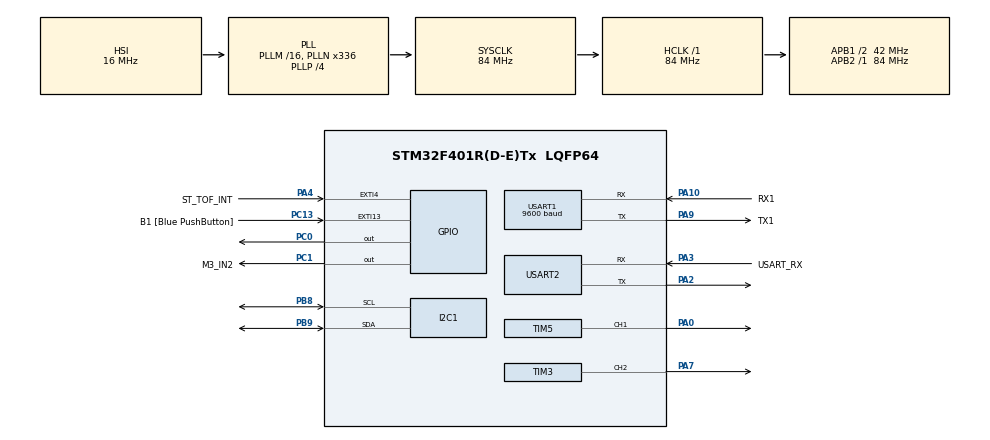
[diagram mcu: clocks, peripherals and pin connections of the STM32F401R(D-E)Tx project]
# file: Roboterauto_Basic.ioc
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Dma.Request0=USART1_RX
Dma.USART1_RX.0.Direction=DMA_PERIPH_TO_MEMORY
Dma.USART1_RX.0.FIFOMode=DMA_FIFOMODE_DISABLE
Dma.USART1_RX.0.Instance=DMA2_Stream2
Dma.USART1_RX.0.MemDataAlignment=DMA_MDATAALIGN_BYTE
Dma.USART1_RX.0.MemInc=DMA_MINC_ENABLE
Dma.USART1_RX.0.Mode=DMA_NORMAL
Dma.USART1_RX.0.PeriphDataAlignment=DMA_PDATAALIGN_BYTE
Dma.USART1_RX.0.PeriphInc=DMA_PINC_DISABLE
Dma.USART1_RX.0.Priority=DMA_PRIORITY_LOW
I2C1.I2C_Mode=I2C_Fast
Mcu.Family=STM32F4
Mcu.Name=STM32F401R(D-E)Tx
Mcu.Package=LQFP64
NVIC.DMA2_Stream2_IRQn=true\:0\:0\:false\:false\:true\:false\:true\:true
NVIC.EXTI4_IRQn=true\:0\:0\:false\:false\:true\:true\:true\:true
NVIC.PriorityGroup=NVIC_PRIORITYGROUP_0
NVIC.USART1_IRQn=true\:0\:0\:false\:false\:true\:true\:true\:true
PA0-WKUP.Signal=S_TIM5_CH1
PA10.GPIO_Label=RX1
PA10.Mode=Asynchronous
PA10.Signal=USART1_RX
PA13.GPIO_Label=TMS
PA13.Signal=SYS_JTMS-SWDIO
PA14.GPIO_Label=TCK
PA14.Signal=SYS_JTCK-SWCLK
PA2.GPIO_Mode=GPIO_MODE_AF_PP
PA2.GPIO_PuPd=GPIO_NOPULL
PA2.GPIO_Speed=GPIO_SPEED_FREQ_LOW
PA2.Mode=Asynchronous
PA2.Signal=USART2_TX
PA3.GPIO_Label=USART_RX
PA3.GPIO_Mode=GPIO_MODE_AF_PP
PA3.GPIO_PuPd=GPIO_NOPULL
PA3.GPIO_Speed=GPIO_SPEED_FREQ_LOW
PA3.Mode=Asynchronous
PA3.Signal=USART2_RX
PA4.GPIO_Label=ST_TOF_INT
PA4.GPIO_ModeDefaultEXTI=GPIO_MODE_IT_FALLING
PA4.GPIO_PuPd=GPIO_NOPULL
PA4.Signal=GPXTI4
PA7.Signal=S_TIM3_CH2
PA9.GPIO_Label=TX1
PA9.Mode=Asynchronous
PA9.Signal=USART1_TX
PB3.GPIO_Label=SWO
PB3.Signal=SYS_JTDO-SWO
PB8.Mode=I2C
PB8.Signal=I2C1_SCL
PB9.Mode=I2C
PB9.Signal=I2C1_SDA
PC0.Signal=GPIO_Output
PC1.GPIO_Label=M3_IN2
PC1.Signal=GPIO_Output
PC13-ANTI_TAMP.GPIO_Label=B1 [Blue PushButton]
PC13-ANTI_TAMP.GPIO_ModeDefaultEXTI=GPIO_MODE_IT_FALLING
PC13-ANTI_TAMP.GPIO_PuPd=GPIO_NOPULL
PC13-ANTI_TAMP.Signal=GPXTI13
PC14-OSC32_IN.Signal=RCC_OSC32_IN
PC15-OSC32_OUT.Signal=RCC_OSC32_OUT
PH0\ -\ OSC_IN.Signal=RCC_OSC_IN
PH1\ -\ OSC_OUT.Signal=RCC_OSC_OUT
ProjectManager.HeapSize=0x200
ProjectManager.StackSize=0x400
ProjectManager.TargetToolchain=STM32CubeIDE
RCC.AHBFreq_Value=84000000
RCC.APB1CLKDivider=RCC_HCLK_DIV2
RCC.APB1Freq_Value=42000000
RCC.APB1TimFreq_Value=84000000
RCC.APB2Freq_Value=84000000
RCC.APB2TimFreq_Value=84000000
RCC.CortexFreq_Value=84000000
RCC.HCLKFreq_Value=84000000
RCC.HSE_VALUE=8000000
RCC.HSI_VALUE=16000000
RCC.LSE_VALUE=32768
RCC.PLLN=336
RCC.PLLP=RCC_PLLP_DIV4
RCC.PLLQ=7
RCC.SYSCLKFreq_VALUE=84000000
RCC.SYSCLKSource=RCC_SYSCLKSOURCE_PLLCLK
RCC.VCOOutputFreq_Value=336000000
SH.S_TIM3_CH2.0=TIM3_CH2,PWM Generation2 CH2
SH.S_TIM5_CH1.0=TIM5_CH1,PWM Generation1 CH1
TIM3.Channel-PWM\ Generation2\ CH2=TIM_CHANNEL_2
TIM3.Period=1000-1
TIM3.Prescaler=1680-1
TIM5.Channel-PWM\ Generation1\ CH1=TIM_CHANNEL_1
TIM5.Period=1000-1
TIM5.Prescaler=42-1
USART1.BaudRate=9600
USART1.VirtualMode=VM_ASYNC
USART2.VirtualMode=VM_ASYNC
VP_TIM3_VS_ClockSourceINT.Mode=Internal
VP_TIM5_VS_ClockSourceINT.Mode=Internal
board=NUCLEO-F401RE

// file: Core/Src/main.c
/* USER CODE BEGIN Header */
/**
  ******************************************************************************
  * @file           : main.c
  * @brief          : Main program body
  ******************************************************************************
  * @attention
  *
  * <h2><center>&copy; Copyright (c) 2021 STMicroelectronics.
  * All rights reserved.</center></h2>
  *
  * This software component is licensed by ST under BSD 3-Clause license,
  * the "License"; You may not use this file except in compliance with the
  * License. You may obtain a copy of the License at:
  *                        opensource.org/licenses/BSD-3-Clause
  *
  ******************************************************************************
  */
/* USER CODE END Header */
#include "main.h"

/* USER CODE BEGIN Includes */
#include "i2c.h"

#include "fonts.h"
#include "ssd1306.h"
#include "bitmap.h"

#include "TOF_driver.h"
#include "vl53lx_api.h"

#include "motorDriver.h"

#include "ioExpander.h"

#include "debugging.h"
#include "bluefruit_controller.h"
#include "bluefruit_plotter.h"

/* USER CODE END Includes */

I2C_HandleTypeDef hi2c1;

TIM_HandleTypeDef htim3;
TIM_HandleTypeDef htim5;

UART_HandleTypeDef huart1;
UART_HandleTypeDef huart2;
DMA_HandleTypeDef hdma_usart1_rx;

/* USER CODE BEGIN PV */

VL53LX_Dev_t                   dev2;
VL53LX_DEV                     Dev2 = &dev2;
//int status;
int IntCount;
uint8_t rxIntCount;
#define isInterrupt 1
#define isBluetooth 0

uint8_t i2cAddrBuf[10];		// I2C Address Buffer Array

UART_HandleTypeDef *debug_log_huart = NULL;
UART_HandleTypeDef *bluefruit_plotter_huart = NULL;

#define RxBuf_SIZE 10
#define MainBuf_SIZE 20

uint8_t RxBuf[RxBuf_SIZE];
uint8_t MainBuf[MainBuf_SIZE];

uint8_t motorSpeed = 0;
uint8_t motorDirection = 0;

/* USER CODE END PV */

void SystemClock_Config(void);
static void MX_GPIO_Init(void);
static void MX_DMA_Init(void);
static void MX_TIM3_Init(void);
static void MX_USART2_UART_Init(void);
static void MX_TIM5_Init(void);
static void MX_I2C1_Init(void);
static void MX_USART1_UART_Init(void);
/* USER CODE BEGIN PFP */
//void RangingLoop(void);
/* USER CODE END PFP */

/* USER CODE BEGIN 0 */

#ifdef __GNUC__
/* With GCC/RAISONANCE, small printf (option LD Linker->Libraries->Small printf
set to 'Yes') calls __io_putchar() */
#define PUTCHAR_PROTOTYPE int __io_putchar(int ch)
#else
#define PUTCHAR_PROTOTYPE int fputc(int ch, FILE *f)
#endif /* __GNUC__ */

void HAL_GPIO_EXTI_Callback(uint16_t GPIO_Pin)
{
  if (GPIO_Pin==ST_TOF_INT_Pin)
  {
    IntCount++;
  }
}

void handle_buttons(int number, int is_pressed)
{
	DEBUG_LOG("Bluefruit controller: Button %i was %s\r\n",
			number, (is_pressed == 1) ? "pressed" : "released");

	switch (number)
	{
		case 5:
			if (is_pressed)
			{
				if (motorDirection == 1)
				{
					motorSpeed += 10;
					setMotorSpeed(motorSpeed,motorDirection);
				}
				else
				{
					stopMotor();
					motorSpeed = 0;
					motorDirection = 1;
				}
			}
			else
			{
				setMotorSpeed(motorSpeed,1);
			}
			break;

		case 6:
			if (is_pressed)
			{
				if (motorDirection == 0)
				{
					motorSpeed += 10;
					setMotorSpeed(motorSpeed,motorDirection);
				}
				else
				{
					stopMotor();
					motorSpeed = 0;
					motorDirection = 0;
				}
			}
			else
			{
				setMotorSpeed(motorSpeed,0);
			}
			break;
		case 8:
			if (is_pressed)
			{
				htim3.Instance->CCR2 = 90;
			}
			else
			{
				htim3.Instance->CCR2 = 72;
			}
			break;
		case 7:
			if (is_pressed)
			{
				htim3.Instance->CCR2 = 47;
			}
			else
			{
				htim3.Instance->CCR2 = 72;
			}
			break;
		case 1:
			if (is_pressed)
			{
				toggleFrontLEDs();
			}
			break;
		case 2:
			if (is_pressed)
			{
				toggleRearLEDs();
			}
			break;
	}
}

void handle_gyroscope(float x, float y, float z)
{
	DEBUG_LOG("Bluefruit controller: Gyroscope event (%f, %f, %f)\r\n",
			x, y, z);
}

void HAL_UARTEx_RxEventCallback(UART_HandleTypeDef *huart, uint16_t Size)
{

	rxIntCount++;
	//memcpy (MainBuf, RxBuf, Size);
	//HAL_UARTEx_ReceiveToIdle_DMA(&huart1, RxBuf, RxBuf_SIZE);
	//free(RxBuf);
}

/* USER CODE END 0 */

int main(void)
{
  /* USER CODE BEGIN 1 */
	uint8_t devCnt=0;
	//uint16_t wordData;

  /* USER CODE END 1 */

  /* MCU Configuration--------------------------------------------------------*/

  /* Reset of all peripherals, Initializes the Flash interface and the Systick. */
  HAL_Init();

  /* Configure the system clock */
  SystemClock_Config();

  /* Initialize all configured peripherals */
  MX_GPIO_Init();
  MX_DMA_Init();
  MX_TIM3_Init();
  MX_USART2_UART_Init();
  MX_TIM5_Init();
  MX_I2C1_Init();
  MX_USART1_UART_Init();
  /* USER CODE BEGIN 2 */

  HAL_UARTEx_ReceiveToIdle_DMA(&huart1, RxBuf, RxBuf_SIZE);
  __HAL_DMA_DISABLE_IT(&hdma_usart1_rx, DMA_IT_HT);

  //bluefruit_plotter_huart = &huart1;
  debug_log_huart = &huart2;

  bluefruit_controller ctrl;
  bluefruit_controller_init(&ctrl, &huart1);
  ctrl.handlers.handle_buttons = handle_buttons;
  ctrl.handlers.handle_gyroscope = handle_gyroscope;

  printf("---------------------------------------\r\n");
  printf("Scanning for I2C Devices\r\n");
  printf("---------------------------------------\r\n");
  printf("\r\n");
  devCnt = I2C_Scanner(i2cAddrBuf);
  printf("%d Devices found\r\n", devCnt);

  for (int i=0; i<devCnt; i++)
  {
	  switch (i2cAddrBuf[i])
	  {
	  	  case 0x29:
	  		printf("TOF sensor found!\r\n");
	  		break;
	  	  case 0x18:
	  		printf("Temperature sensor found!\r\n");
	  		break;
	  	  case 0x20:
	  		printf("IO Expander found!\r\n");
	  		break;
	  	  case 0x3D:
	  		printf("OLED Display found!\r\n");
	  		break;
	  	  case 0x1C:
	  		printf("Gyroscope sensor found!\r\n");
	  		break;
	  	  case 0x6A:
	  		printf("Magnet sensor found!\r\n");
	  		break;
	  }

  }
  printf("\r\n");

  SSD1306_Init();

  //init_adxl343();

  //init_vl53l3cx();

  // Print the FHGR logo to the Display
  SSD1306_DrawBitmap(32, 0,FHGR_LOGO_SW, 64, 64, 1); // Print the logo to the left
  //SSD1306_DrawBitmap(64, 0,HERZ_PULS, 64, 64, 1);	// Pront the heart to the right
  SSD1306_UpdateScreen();							// Update the screen
  //HAL_Delay(2000);
  //SSD1306_Clear();
  //HAL_Delay(5000);

  HAL_TIM_PWM_Start(&htim3, TIM_CHANNEL_2);
  //HAL_TIM_PWM_Start(&htim1, TIM_CHANNEL_2);
  HAL_TIM_PWM_Start(&htim5, TIM_CHANNEL_1);

  //printf("VL53L1X Examples...\n\r");
  //Dev2->I2cHandle = &hi2c1;
  //Dev2->I2cDevAddr = 0x52;

  /* Allow to select the sensor to be used, multi-sensor is not managed in this example.
  Only when use use the Left ToF in interrupt mode,  solder the U7 on the X-Nucleo-53L3A2 board
  Only when use the Right ToF in interrupt mode, solder the U7 on the X-Nucleo-53L3A2 board
  See "Solder drop configurations" in the X-Nucleo-53L3A2 User Manual for more details */
  //ToFSensor = 1; // Select ToFSensor: 0=Left, 1=Center, 2=Right
  //status = XNUCLEO53L3A2_ResetId(ToFSensor, 0); // Reset ToF sensor
  //HAL_Delay(2);
  //status = XNUCLEO53L3A2_ResetId(ToFSensor, 1); // Reset ToF sensor
  //HAL_Delay(2);

  //VL53LX_RdByte(Dev2, 0x010F, &byteData);
  //printf("VL53LX Model_ID: %02X\n\r", byteData);
  //VL53LX_RdByte(Dev2, 0x0110, &byteData);
  //printf("VL53LX Module_Type: %02X\n\r", byteData);
  //VL53LX_RdWord(Dev2, 0x010F, &wordData);
  //printf("VL53LX: %02X\n\r", wordData);

  accelMotor(100,1);

  HAL_Delay(2000);

  stopMotor();

  htim3.Instance->CCR2 = 47;

  HAL_Delay(2000);

  htim3.Instance->CCR2 = 90;
  //htim1.Instance->CCR2 = 90;

  HAL_Delay(2000);

  htim3.Instance->CCR2 = 72;
  //RangingLoop();

  TOF_SensorInit();

  ioExp_init();

  printf("Press the User Button to start!!\r\n");

  SSD1306_Clear();
  SSD1306_DrawBitmap(0, 0,FINGER, 64, 64, 1);
  SSD1306_GotoXY(64, 5);
  SSD1306_Puts("PLEASE", &Font_7x10, 1);
  SSD1306_GotoXY(64, 20);
  SSD1306_Puts("PRESS", &Font_7x10, 1);
  SSD1306_GotoXY(64, 35);
  SSD1306_Puts("USER!", &Font_7x10, 1);
  SSD1306_GotoXY(64, 50);
  SSD1306_Puts("BUTTON!", &Font_7x10, 1);
  SSD1306_UpdateScreen();

  while(ioExp_readPin(B1)==1)
  {

  }

  /* USER CODE END 2 */

  /* Infinite loop */
  while (1)
  {

    /* USER CODE BEGIN 3 */

	bluefruit_controller_update(&ctrl);

	//HAL_GPIO_WritePin(GPIOC,M3_IN2_Pin, GPIO_PIN_RESET);
	//HAL_GPIO_WritePin(GPIOC,M3_IN1_Pin, GPIO_PIN_SET);

	//htim5.Instance->CCR1 = 0;

	TOF_Measurement();
	HAL_Delay(30);

	/*for(int i = 100; i<1000; i+=50)
	{
		htim5.Instance->CCR1 = i;
		HAL_Delay(1000);
	}*/

  }
  /* USER CODE END 3 */
}

void SystemClock_Config(void)
{
  RCC_OscInitTypeDef RCC_OscInitStruct = {0};
  RCC_ClkInitTypeDef RCC_ClkInitStruct = {0};

  /** Configure the main internal regulator output voltage
  */
  __HAL_RCC_PWR_CLK_ENABLE();
  __HAL_PWR_VOLTAGESCALING_CONFIG(PWR_REGULATOR_VOLTAGE_SCALE2);

  /** Initializes the RCC Oscillators according to the specified parameters
  * in the RCC_OscInitTypeDef structure.
  */
  RCC_OscInitStruct.OscillatorType = RCC_OSCILLATORTYPE_HSI;
  RCC_OscInitStruct.HSIState = RCC_HSI_ON;
  RCC_OscInitStruct.HSICalibrationValue = RCC_HSICALIBRATION_DEFAULT;
  RCC_OscInitStruct.PLL.PLLState = RCC_PLL_ON;
  RCC_OscInitStruct.PLL.PLLSource = RCC_PLLSOURCE_HSI;
  RCC_OscInitStruct.PLL.PLLM = 16;
  RCC_OscInitStruct.PLL.PLLN = 336;
  RCC_OscInitStruct.PLL.PLLP = RCC_PLLP_DIV4;
  RCC_OscInitStruct.PLL.PLLQ = 7;
  if (HAL_RCC_OscConfig(&RCC_OscInitStruct) != HAL_OK)
  {
    Error_Handler();
  }

  /** Initializes the CPU, AHB and APB buses clocks
  */
  RCC_ClkInitStruct.ClockType = RCC_CLOCKTYPE_HCLK|RCC_CLOCKTYPE_SYSCLK
                              |RCC_CLOCKTYPE_PCLK1|RCC_CLOCKTYPE_PCLK2;
  RCC_ClkInitStruct.SYSCLKSource = RCC_SYSCLKSOURCE_PLLCLK;
  RCC_ClkInitStruct.AHBCLKDivider = RCC_SYSCLK_DIV1;
  RCC_ClkInitStruct.APB1CLKDivider = RCC_HCLK_DIV2;
  RCC_ClkInitStruct.APB2CLKDivider = RCC_HCLK_DIV1;

  if (HAL_RCC_ClockConfig(&RCC_ClkInitStruct, FLASH_LATENCY_2) != HAL_OK)
  {
    Error_Handler();
  }
}

static void MX_I2C1_Init(void)
{

  hi2c1.Instance = I2C1;
  hi2c1.Init.ClockSpeed = 400000;
  hi2c1.Init.DutyCycle = I2C_DUTYCYCLE_2;
  hi2c1.Init.OwnAddress1 = 0;
  hi2c1.Init.AddressingMode = I2C_ADDRESSINGMODE_7BIT;
  hi2c1.Init.DualAddressMode = I2C_DUALADDRESS_DISABLE;
  hi2c1.Init.OwnAddress2 = 0;
  hi2c1.Init.GeneralCallMode = I2C_GENERALCALL_DISABLE;
  hi2c1.Init.NoStretchMode = I2C_NOSTRETCH_DISABLE;
  if (HAL_I2C_Init(&hi2c1) != HAL_OK)
  {
    Error_Handler();
  }

}

static void MX_TIM3_Init(void)
{

  TIM_ClockConfigTypeDef sClockSourceConfig = {0};
  TIM_MasterConfigTypeDef sMasterConfig = {0};
  TIM_OC_InitTypeDef sConfigOC = {0};

  htim3.Instance = TIM3;
  htim3.Init.Prescaler = 1680-1;
  htim3.Init.CounterMode = TIM_COUNTERMODE_UP;
  htim3.Init.Period = 1000-1;
  htim3.Init.ClockDivision = TIM_CLOCKDIVISION_DIV1;
  htim3.Init.AutoReloadPreload = TIM_AUTORELOAD_PRELOAD_DISABLE;
  if (HAL_TIM_Base_Init(&htim3) != HAL_OK)
  {
    Error_Handler();
  }
  sClockSourceConfig.ClockSource = TIM_CLOCKSOURCE_INTERNAL;
  if (HAL_TIM_ConfigClockSource(&htim3, &sClockSourceConfig) != HAL_OK)
  {
    Error_Handler();
  }
  if (HAL_TIM_PWM_Init(&htim3) != HAL_OK)
  {
    Error_Handler();
  }
  sMasterConfig.MasterOutputTrigger = TIM_TRGO_RESET;
  sMasterConfig.MasterSlaveMode = TIM_MASTERSLAVEMODE_DISABLE;
  if (HAL_TIMEx_MasterConfigSynchronization(&htim3, &sMasterConfig) != HAL_OK)
  {
    Error_Handler();
  }
  sConfigOC.OCMode = TIM_OCMODE_PWM1;
  sConfigOC.Pulse = 0;
  sConfigOC.OCPolarity = TIM_OCPOLARITY_HIGH;
  sConfigOC.OCFastMode = TIM_OCFAST_DISABLE;
  if (HAL_TIM_PWM_ConfigChannel(&htim3, &sConfigOC, TIM_CHANNEL_2) != HAL_OK)
  {
    Error_Handler();
  }
  HAL_TIM_MspPostInit(&htim3);

}

static void MX_TIM5_Init(void)
{

  TIM_ClockConfigTypeDef sClockSourceConfig = {0};
  TIM_MasterConfigTypeDef sMasterConfig = {0};
  TIM_OC_InitTypeDef sConfigOC = {0};

  htim5.Instance = TIM5;
  htim5.Init.Prescaler = 42-1;
  htim5.Init.CounterMode = TIM_COUNTERMODE_UP;
  htim5.Init.Period = 1000-1;
  htim5.Init.ClockDivision = TIM_CLOCKDIVISION_DIV1;
  htim5.Init.AutoReloadPreload = TIM_AUTORELOAD_PRELOAD_DISABLE;
  if (HAL_TIM_Base_Init(&htim5) != HAL_OK)
  {
    Error_Handler();
  }
  sClockSourceConfig.ClockSource = TIM_CLOCKSOURCE_INTERNAL;
  if (HAL_TIM_ConfigClockSource(&htim5, &sClockSourceConfig) != HAL_OK)
  {
    Error_Handler();
  }
  if (HAL_TIM_PWM_Init(&htim5) != HAL_OK)
  {
    Error_Handler();
  }
  sMasterConfig.MasterOutputTrigger = TIM_TRGO_RESET;
  sMasterConfig.MasterSlaveMode = TIM_MASTERSLAVEMODE_DISABLE;
  if (HAL_TIMEx_MasterConfigSynchronization(&htim5, &sMasterConfig) != HAL_OK)
  {
    Error_Handler();
  }
  sConfigOC.OCMode = TIM_OCMODE_PWM1;
  sConfigOC.Pulse = 0;
  sConfigOC.OCPolarity = TIM_OCPOLARITY_HIGH;
  sConfigOC.OCFastMode = TIM_OCFAST_DISABLE;
  if (HAL_TIM_PWM_ConfigChannel(&htim5, &sConfigOC, TIM_CHANNEL_1) != HAL_OK)
  {
    Error_Handler();
  }
  HAL_TIM_MspPostInit(&htim5);

}

static void MX_USART1_UART_Init(void)
{

  huart1.Instance = USART1;
  huart1.Init.BaudRate = 9600;
  huart1.Init.WordLength = UART_WORDLENGTH_8B;
  huart1.Init.StopBits = UART_STOPBITS_1;
  huart1.Init.Parity = UART_PARITY_NONE;
  huart1.Init.Mode = UART_MODE_TX_RX;
  huart1.Init.HwFlowCtl = UART_HWCONTROL_NONE;
  huart1.Init.OverSampling = UART_OVERSAMPLING_16;
  if (HAL_UART_Init(&huart1) != HAL_OK)
  {
    Error_Handler();
  }

}

static void MX_USART2_UART_Init(void)
{

  huart2.Instance = USART2;
  huart2.Init.BaudRate = 115200;
  huart2.Init.WordLength = UART_WORDLENGTH_8B;
  huart2.Init.StopBits = UART_STOPBITS_1;
  huart2.Init.Parity = UART_PARITY_NONE;
  huart2.Init.Mode = UART_MODE_TX_RX;
  huart2.Init.HwFlowCtl = UART_HWCONTROL_NONE;
  huart2.Init.OverSampling = UART_OVERSAMPLING_16;
  if (HAL_UART_Init(&huart2) != HAL_OK)
  {
    Error_Handler();
  }

}

static void MX_DMA_Init(void)
{

  /* DMA controller clock enable */
  __HAL_RCC_DMA2_CLK_ENABLE();

  /* DMA interrupt init */
  /* DMA2_Stream2_IRQn interrupt configuration */
  HAL_NVIC_SetPriority(DMA2_Stream2_IRQn, 0, 0);
  HAL_NVIC_EnableIRQ(DMA2_Stream2_IRQn);

}

static void MX_GPIO_Init(void)
{
  GPIO_InitTypeDef GPIO_InitStruct = {0};

  /* GPIO Ports Clock Enable */
  __HAL_RCC_GPIOC_CLK_ENABLE();
  __HAL_RCC_GPIOH_CLK_ENABLE();
  __HAL_RCC_GPIOA_CLK_ENABLE();
  __HAL_RCC_GPIOB_CLK_ENABLE();

  /*Configure GPIO pin Output Level */
  HAL_GPIO_WritePin(GPIOC, GPIO_PIN_0|M3_IN2_Pin, GPIO_PIN_RESET);

  /*Configure GPIO pin : B1_Pin */
  GPIO_InitStruct.Pin = B1_Pin;
  GPIO_InitStruct.Mode = GPIO_MODE_IT_FALLING;
  GPIO_InitStruct.Pull = GPIO_NOPULL;
  HAL_GPIO_Init(B1_GPIO_Port, &GPIO_InitStruct);

  /*Configure GPIO pins : PC0 M3_IN2_Pin */
  GPIO_InitStruct.Pin = GPIO_PIN_0|M3_IN2_Pin;
  GPIO_InitStruct.Mode = GPIO_MODE_OUTPUT_PP;
  GPIO_InitStruct.Pull = GPIO_NOPULL;
  GPIO_InitStruct.Speed = GPIO_SPEED_FREQ_LOW;
  HAL_GPIO_Init(GPIOC, &GPIO_InitStruct);

  /*Configure GPIO pin : ST_TOF_INT_Pin */
  GPIO_InitStruct.Pin = ST_TOF_INT_Pin;
  GPIO_InitStruct.Mode = GPIO_MODE_IT_FALLING;
  GPIO_InitStruct.Pull = GPIO_NOPULL;
  HAL_GPIO_Init(ST_TOF_INT_GPIO_Port, &GPIO_InitStruct);

  /* EXTI interrupt init*/
  HAL_NVIC_SetPriority(EXTI4_IRQn, 0, 0);
  HAL_NVIC_EnableIRQ(EXTI4_IRQn);

}

/* USER CODE BEGIN 4 */

/**
* @brief Retargets the C library printf function to the USART.
* @param None
* @retval None
*/
PUTCHAR_PROTOTYPE
{
/* Place your implementation of fputc here */
/* e.g. write a character to the USART2 and Loop until the end of transmission */
if(isBluetooth)
{
	HAL_UART_Transmit(&huart1, (uint8_t *)&ch, 1, 0xFFFF);
}
else
{
	HAL_UART_Transmit(&huart2, (uint8_t *)&ch, 1, 0xFFFF);
}

return ch;
}

/* ranging and display loop */
/*void RangingLoop(void)
{
  VL53LX_MultiRangingData_t MultiRangingData;
  VL53LX_MultiRangingData_t *pMultiRangingData = &MultiRangingData;
  uint8_t NewDataReady=0;
  int no_of_object_found=0,j;
  printf("Ranging loop starts\r\n");

  status = VL53LX_WaitDeviceBooted(Dev);
  status = VL53LX_DataInit(Dev);
  status = VL53LX_StartMeasurement(Dev);

  if(status){
    printf("VL53LX_StartMeasurement failed: error = %d \r\n", status);
    while(1);
  }

  if (isInterrupt){
    do // HW interrupt mode
    {
      __WFI();
      if(IntCount !=0 ){
        IntCount=0;
        status = VL53LX_GetMultiRangingData(Dev, pMultiRangingData);
        no_of_object_found=pMultiRangingData->NumberOfObjectsFound;
        printf("Count=%5d, ", pMultiRangingData->StreamCount);
        printf("#Objs=%1d ", no_of_object_found);
        for(j=0;j<no_of_object_found;j++){
          if(j!=0)printf("\n                     ");
          printf("status=%d, D=%5dmm, Signal=%2.2f Mcps, Ambient=%2.2f Mcps",
                 pMultiRangingData->RangeData[j].RangeStatus,
                 pMultiRangingData->RangeData[j].RangeMilliMeter,
                 pMultiRangingData->RangeData[j].SignalRateRtnMegaCps/65536.0,
                 pMultiRangingData->RangeData[j].AmbientRateRtnMegaCps/65536.0);

          char str[5];
          sprintf(str, "%d", pMultiRangingData->RangeData[j].RangeMilliMeter);

          SSD1306_Clear();
          SSD1306_GotoXY(0, 10);
          SSD1306_Puts(str, &Font_16x26, 1);
          SSD1306_UpdateScreen();
        }
        printf ("\r\n");
        if (status==0){
          status = VL53LX_ClearInterruptAndStartMeasurement(Dev);
        }

      }
    }
    while(1);
  }
  else{
    do{ // polling mode
      status = VL53LX_GetMeasurementDataReady(Dev, &NewDataReady);
      HAL_Delay(1); // 1 ms polling period, could be longer.
      if((!status)&&(NewDataReady!=0)){
        status = VL53LX_GetMultiRangingData(Dev, pMultiRangingData);
        no_of_object_found=pMultiRangingData->NumberOfObjectsFound;
        printf("Count=%5d, ", pMultiRangingData->StreamCount);
        printf("#Objs=%1d ", no_of_object_found);
        for(j=0;j<no_of_object_found;j++){
          if(j!=0)printf("\n                     ");
          printf("status=%d, D=%5dmm, Signal=%2.2f Mcps, Ambient=%2.2f Mcps",
                 pMultiRangingData->RangeData[j].RangeStatus,
                 pMultiRangingData->RangeData[j].RangeMilliMeter,
                 pMultiRangingData->RangeData[j].SignalRateRtnMegaCps/65536.0,
                 pMultiRangingData->RangeData[j].AmbientRateRtnMegaCps/65536.0);
        }
        printf ("\r\n");
        if (status==0){
          status = VL53LX_ClearInterruptAndStartMeasurement(Dev);
        }
      }
    }
    while (1);
  }
}*/

/* USER CODE END 4 */

void Error_Handler(void)
{
  __disable_irq();
  while (1)
  {
  }
}
